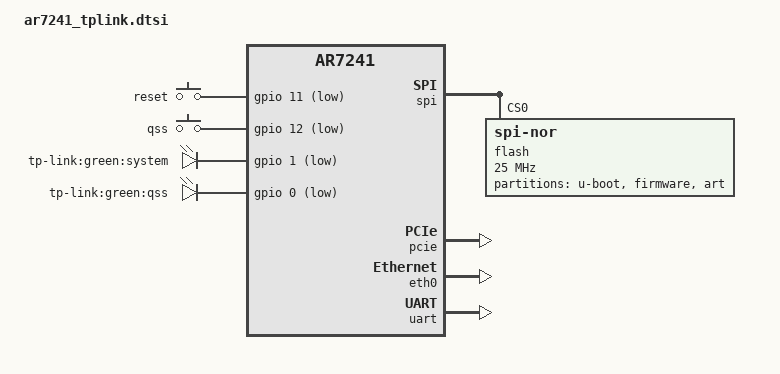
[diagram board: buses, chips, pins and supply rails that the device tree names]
// SPDX-License-Identifier: GPL-2.0-or-later OR MIT

#include "ar7241.dtsi"

#include <dt-bindings/gpio/gpio.h>
#include <dt-bindings/input/input.h>

/ {
	aliases {
		led-boot = &led_system;
		led-failsafe = &led_system;
		led-running = &led_system;
		led-upgrade = &led_system;
		label-mac-device = &ath9k;
	};

	keys {
		compatible = "gpio-keys";

		reset {
			label = "reset";
			linux,code = <KEY_RESTART>;
			gpios = <&gpio 11 GPIO_ACTIVE_LOW>;
			debounce-interval = <60>;
		};

		qss {
			label = "qss";
			linux,code = <KEY_WPS_BUTTON>;
			gpios = <&gpio 12 GPIO_ACTIVE_LOW>;
			debounce-interval = <60>;
		};
	};

	leds: leds {
		compatible = "gpio-leds";

		led_system: system {
			label = "tp-link:green:system";
			gpios = <&gpio 1 GPIO_ACTIVE_LOW>;
		};

		qss {
			label = "tp-link:green:qss";
			gpios = <&gpio 0 GPIO_ACTIVE_LOW>;
		};
	};
};

&spi {
	status = "okay";

	num-cs = <1>;

	flash@0 {
		compatible = "jedec,spi-nor";
		reg = <0>;
		spi-max-frequency = <25000000>;

		partitions {
			compatible = "fixed-partitions";
			#address-cells = <1>;
			#size-cells = <1>;

			uboot: partition@0 {
				reg = <0x0 0x20000>;
				label = "u-boot";
				read-only;
			};

			partition@20000 {
				compatible = "tplink,firmware";
				reg = <0x20000 0x3d0000>;
				label = "firmware";
			};

			partition@3f0000 {
				reg = <0x3f0000 0x10000>;
				label = "art";
				read-only;
			};
		};
	};
};

&pcie {
	status = "okay";

	ath9k: wifi@0,0 {
		reg = <0x0000 0 0 0 0>;
		#gpio-cells = <2>;
		gpio-controller;
		qca,no-eeprom;
		mtd-mac-address = <&uboot 0x1fc00>;
	};
};

&eth0 {
	status = "okay";

	mtd-mac-address = <&uboot 0x1fc00>;
	mtd-mac-address-increment = <(-1)>;
};

&eth1 {
	mtd-mac-address = <&uboot 0x1fc00>;
	mtd-mac-address-increment = <1>;
};

&uart {
	status = "okay";
};
